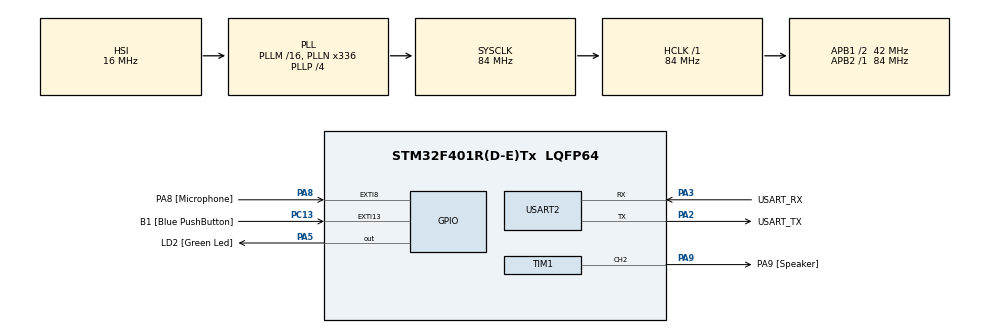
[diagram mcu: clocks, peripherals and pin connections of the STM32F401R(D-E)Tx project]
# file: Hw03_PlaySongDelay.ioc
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Mcu.Family=STM32F4
Mcu.Name=STM32F401R(D-E)Tx
Mcu.Package=LQFP64
NVIC.EXTI9_5_IRQn=true\:1\:0\:true\:false\:true\:true\:true\:true
NVIC.PriorityGroup=NVIC_PRIORITYGROUP_4
PA13.GPIO_Label=TMS
PA13.Mode=Trace_Asynchronous_SW
PA13.Signal=SYS_JTMS-SWDIO
PA14.GPIO_Label=TCK
PA14.Mode=Trace_Asynchronous_SW
PA14.Signal=SYS_JTCK-SWCLK
PA2.GPIO_Label=USART_TX
PA2.GPIO_Mode=GPIO_MODE_AF_PP
PA2.GPIO_PuPd=GPIO_NOPULL
PA2.GPIO_Speed=GPIO_SPEED_FREQ_LOW
PA2.Mode=Asynchronous
PA2.Signal=USART2_TX
PA3.GPIO_Label=USART_RX
PA3.GPIO_Mode=GPIO_MODE_AF_PP
PA3.GPIO_PuPd=GPIO_NOPULL
PA3.GPIO_Speed=GPIO_SPEED_FREQ_LOW
PA3.Mode=Asynchronous
PA3.Signal=USART2_RX
PA5.GPIO_Label=LD2 [Green Led]
PA5.GPIO_Mode=GPIO_MODE_OUTPUT_PP
PA5.GPIO_PuPd=GPIO_NOPULL
PA5.GPIO_Speed=GPIO_SPEED_FREQ_LOW
PA5.Signal=GPIO_Output
PA8.GPIO_Label=PA8 [Microphone]
PA8.Signal=GPXTI8
PA9.GPIO_Label=PA9 [Speaker]
PA9.GPIO_Speed=GPIO_SPEED_FREQ_LOW
PA9.Signal=S_TIM1_CH2
PB3.GPIO_Label=SWO
PB3.Mode=Trace_Asynchronous_SW
PB3.Signal=SYS_JTDO-SWO
PC13-ANTI_TAMP.GPIO_Label=B1 [Blue PushButton]
PC13-ANTI_TAMP.GPIO_ModeDefaultEXTI=GPIO_MODE_IT_FALLING
PC13-ANTI_TAMP.GPIO_PuPd=GPIO_NOPULL
PC13-ANTI_TAMP.Signal=GPXTI13
PC14-OSC32_IN.Mode=LSE-External-Oscillator
PC14-OSC32_IN.Signal=RCC_OSC32_IN
PC15-OSC32_OUT.Mode=LSE-External-Oscillator
PC15-OSC32_OUT.Signal=RCC_OSC32_OUT
PH0\ -\ OSC_IN.Mode=HSE-External-Clock-Source
PH0\ -\ OSC_IN.Signal=RCC_OSC_IN
PH1\ -\ OSC_OUT.Mode=HSE-External-Clock-Source
PH1\ -\ OSC_OUT.Signal=RCC_OSC_OUT
ProjectManager.HeapSize=0x200
ProjectManager.StackSize=0x400
ProjectManager.TargetToolchain=STM32CubeIDE
RCC.48MHZClocksFreq_Value=48000000
RCC.AHBFreq_Value=84000000
RCC.APB1CLKDivider=RCC_HCLK_DIV2
RCC.APB1Freq_Value=42000000
RCC.APB1TimFreq_Value=84000000
RCC.APB2Freq_Value=84000000
RCC.APB2TimFreq_Value=84000000
RCC.CortexFreq_Value=84000000
RCC.HCLKFreq_Value=84000000
RCC.HSE_VALUE=8000000
RCC.HSI_VALUE=16000000
RCC.PLLN=336
RCC.PLLP=RCC_PLLP_DIV4
RCC.PLLQ=7
RCC.SYSCLKFreq_VALUE=84000000
RCC.SYSCLKSource=RCC_SYSCLKSOURCE_PLLCLK
RCC.VCOOutputFreq_Value=336000000
SH.S_TIM1_CH2.0=TIM1_CH2,PWM Generation2 CH2
TIM1.Channel-PWM\ Generation2\ CH2=TIM_CHANNEL_2
TIM1.Prescaler=99
USART2.VirtualMode=VM_ASYNC
VP_TIM1_VS_ClockSourceINT.Mode=Internal
board=NUCLEO-F401RE

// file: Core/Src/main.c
/* USER CODE BEGIN Header */
/**
  ******************************************************************************
  * @file           : main.c
  * @brief          : Main program body
  ******************************************************************************
  * @attention
  *
  * Copyright (c) 2025 STMicroelectronics.
  * All rights reserved.
  *
  * This software is licensed under terms that can be found in the LICENSE file
  * in the root directory of this software component.
  * If no LICENSE file comes with this software, it is provided AS-IS.
  *
  ******************************************************************************
  */
/* USER CODE END Header */
#include "main.h"

/* USER CODE BEGIN PTD */
typedef struct {
	uint32_t tone;
	uint32_t duration;
} Note;
/* USER CODE END PTD */

/* USER CODE BEGIN PD */
#define DO 3205
#define DOD 3031
#define RE 2856
#define RED 2700
#define MI 2544
#define FA 2406
#define FAD 2269
#define SOL 2142
#define SOLD 2023
#define LA 1908
#define LAD 1802
#define SI 1699

#define TEMPO 100

#define DEBOUNCE 200
/* USER CODE END PD */

TIM_HandleTypeDef htim1;

UART_HandleTypeDef huart2;

/* USER CODE BEGIN PV */
const Note song[24] = {
		{SOL, 3}, {LA, 1}, {SOL, 2}, {FA, 2},
		{MI, 2}, {FA, 2}, {SOL, 4},
		{RE, 2}, {MI, 2}, {FA, 4},
		{MI, 2}, {FA, 2}, {SOL, 4},
		{SOL, 3}, {LA, 1}, {SOL, 2}, {FA, 2},
		{MI, 2}, {FA, 2}, {SOL, 4},
		{RE, 4}, {SOL, 4},
		{MI, 2}, {DO, 6},
};

volatile uint8_t isPlaying = 0;

volatile uint32_t last_tick = 0;
/* USER CODE END PV */

void SystemClock_Config(void);
static void MX_GPIO_Init(void);
static void MX_USART2_UART_Init(void);
static void MX_TIM1_Init(void);

/* USER CODE BEGIN 0 */
void playSong() {
	HAL_GPIO_WritePin(GPIOA, GPIO_PIN_5, GPIO_PIN_SET);
	isPlaying = 1;
	int length = sizeof(song)/sizeof(song[0]);
	for (int i = 0; i < length; i++) {
		__HAL_TIM_SET_AUTORELOAD(&htim1, song[i].tone);
		__HAL_TIM_SET_COMPARE(&htim1, TIM_CHANNEL_2, song[i].tone/2);
		__HAL_TIM_SET_COUNTER(&htim1, 0);

		HAL_TIM_PWM_Start(&htim1, TIM_CHANNEL_2);
		HAL_Delay(song[i].duration * TEMPO);
		HAL_TIM_PWM_Stop(&htim1, TIM_CHANNEL_2);
	}
	isPlaying = 0;
	HAL_GPIO_WritePin(GPIOA, GPIO_PIN_5, GPIO_PIN_RESET);
}

void HAL_GPIO_EXTI_Callback(uint16_t GPIO_Pin) {
	if (GPIO_Pin == GPIO_PIN_8) {
		uint32_t tick = HAL_GetTick();
		uint32_t delta = tick - last_tick;
		if (!isPlaying && delta >= DEBOUNCE) {
			playSong();
			last_tick = HAL_GetTick();
		}
	}
}
/* USER CODE END 0 */

int main(void)
{

  /* MCU Configuration--------------------------------------------------------*/

  /* Reset of all peripherals, Initializes the Flash interface and the Systick. */
  HAL_Init();

  /* Configure the system clock */
  SystemClock_Config();

  /* Initialize all configured peripherals */
  MX_GPIO_Init();
  MX_USART2_UART_Init();
  MX_TIM1_Init();

  /* Infinite loop */
  while (1)
  {

  }
}

void SystemClock_Config(void)
{
  RCC_OscInitTypeDef RCC_OscInitStruct = {0};
  RCC_ClkInitTypeDef RCC_ClkInitStruct = {0};

  /** Configure the main internal regulator output voltage
  */
  __HAL_RCC_PWR_CLK_ENABLE();
  __HAL_PWR_VOLTAGESCALING_CONFIG(PWR_REGULATOR_VOLTAGE_SCALE2);

  /** Initializes the RCC Oscillators according to the specified parameters
  * in the RCC_OscInitTypeDef structure.
  */
  RCC_OscInitStruct.OscillatorType = RCC_OSCILLATORTYPE_HSI;
  RCC_OscInitStruct.HSIState = RCC_HSI_ON;
  RCC_OscInitStruct.HSICalibrationValue = RCC_HSICALIBRATION_DEFAULT;
  RCC_OscInitStruct.PLL.PLLState = RCC_PLL_ON;
  RCC_OscInitStruct.PLL.PLLSource = RCC_PLLSOURCE_HSI;
  RCC_OscInitStruct.PLL.PLLM = 16;
  RCC_OscInitStruct.PLL.PLLN = 336;
  RCC_OscInitStruct.PLL.PLLP = RCC_PLLP_DIV4;
  RCC_OscInitStruct.PLL.PLLQ = 7;
  if (HAL_RCC_OscConfig(&RCC_OscInitStruct) != HAL_OK)
  {
    Error_Handler();
  }

  /** Initializes the CPU, AHB and APB buses clocks
  */
  RCC_ClkInitStruct.ClockType = RCC_CLOCKTYPE_HCLK|RCC_CLOCKTYPE_SYSCLK
                              |RCC_CLOCKTYPE_PCLK1|RCC_CLOCKTYPE_PCLK2;
  RCC_ClkInitStruct.SYSCLKSource = RCC_SYSCLKSOURCE_PLLCLK;
  RCC_ClkInitStruct.AHBCLKDivider = RCC_SYSCLK_DIV1;
  RCC_ClkInitStruct.APB1CLKDivider = RCC_HCLK_DIV2;
  RCC_ClkInitStruct.APB2CLKDivider = RCC_HCLK_DIV1;

  if (HAL_RCC_ClockConfig(&RCC_ClkInitStruct, FLASH_LATENCY_2) != HAL_OK)
  {
    Error_Handler();
  }
}

static void MX_TIM1_Init(void)
{

  TIM_ClockConfigTypeDef sClockSourceConfig = {0};
  TIM_MasterConfigTypeDef sMasterConfig = {0};
  TIM_OC_InitTypeDef sConfigOC = {0};
  TIM_BreakDeadTimeConfigTypeDef sBreakDeadTimeConfig = {0};

  htim1.Instance = TIM1;
  htim1.Init.Prescaler = 99;
  htim1.Init.CounterMode = TIM_COUNTERMODE_UP;
  htim1.Init.Period = 65535;
  htim1.Init.ClockDivision = TIM_CLOCKDIVISION_DIV1;
  htim1.Init.RepetitionCounter = 0;
  htim1.Init.AutoReloadPreload = TIM_AUTORELOAD_PRELOAD_DISABLE;
  if (HAL_TIM_Base_Init(&htim1) != HAL_OK)
  {
    Error_Handler();
  }
  sClockSourceConfig.ClockSource = TIM_CLOCKSOURCE_INTERNAL;
  if (HAL_TIM_ConfigClockSource(&htim1, &sClockSourceConfig) != HAL_OK)
  {
    Error_Handler();
  }
  if (HAL_TIM_PWM_Init(&htim1) != HAL_OK)
  {
    Error_Handler();
  }
  sMasterConfig.MasterOutputTrigger = TIM_TRGO_RESET;
  sMasterConfig.MasterSlaveMode = TIM_MASTERSLAVEMODE_DISABLE;
  if (HAL_TIMEx_MasterConfigSynchronization(&htim1, &sMasterConfig) != HAL_OK)
  {
    Error_Handler();
  }
  sConfigOC.OCMode = TIM_OCMODE_PWM1;
  sConfigOC.Pulse = 0;
  sConfigOC.OCPolarity = TIM_OCPOLARITY_HIGH;
  sConfigOC.OCNPolarity = TIM_OCNPOLARITY_HIGH;
  sConfigOC.OCFastMode = TIM_OCFAST_DISABLE;
  sConfigOC.OCIdleState = TIM_OCIDLESTATE_RESET;
  sConfigOC.OCNIdleState = TIM_OCNIDLESTATE_RESET;
  if (HAL_TIM_PWM_ConfigChannel(&htim1, &sConfigOC, TIM_CHANNEL_2) != HAL_OK)
  {
    Error_Handler();
  }
  sBreakDeadTimeConfig.OffStateRunMode = TIM_OSSR_DISABLE;
  sBreakDeadTimeConfig.OffStateIDLEMode = TIM_OSSI_DISABLE;
  sBreakDeadTimeConfig.LockLevel = TIM_LOCKLEVEL_OFF;
  sBreakDeadTimeConfig.DeadTime = 0;
  sBreakDeadTimeConfig.BreakState = TIM_BREAK_DISABLE;
  sBreakDeadTimeConfig.BreakPolarity = TIM_BREAKPOLARITY_HIGH;
  sBreakDeadTimeConfig.AutomaticOutput = TIM_AUTOMATICOUTPUT_DISABLE;
  if (HAL_TIMEx_ConfigBreakDeadTime(&htim1, &sBreakDeadTimeConfig) != HAL_OK)
  {
    Error_Handler();
  }
  HAL_TIM_MspPostInit(&htim1);

}

static void MX_USART2_UART_Init(void)
{

  huart2.Instance = USART2;
  huart2.Init.BaudRate = 115200;
  huart2.Init.WordLength = UART_WORDLENGTH_8B;
  huart2.Init.StopBits = UART_STOPBITS_1;
  huart2.Init.Parity = UART_PARITY_NONE;
  huart2.Init.Mode = UART_MODE_TX_RX;
  huart2.Init.HwFlowCtl = UART_HWCONTROL_NONE;
  huart2.Init.OverSampling = UART_OVERSAMPLING_16;
  if (HAL_UART_Init(&huart2) != HAL_OK)
  {
    Error_Handler();
  }

}

static void MX_GPIO_Init(void)
{
  GPIO_InitTypeDef GPIO_InitStruct = {0};

  /* GPIO Ports Clock Enable */
  __HAL_RCC_GPIOC_CLK_ENABLE();
  __HAL_RCC_GPIOH_CLK_ENABLE();
  __HAL_RCC_GPIOA_CLK_ENABLE();
  __HAL_RCC_GPIOB_CLK_ENABLE();

  /*Configure GPIO pin Output Level */
  HAL_GPIO_WritePin(LD2_GPIO_Port, LD2_Pin, GPIO_PIN_RESET);

  /*Configure GPIO pin : B1_Pin */
  GPIO_InitStruct.Pin = B1_Pin;
  GPIO_InitStruct.Mode = GPIO_MODE_IT_FALLING;
  GPIO_InitStruct.Pull = GPIO_NOPULL;
  HAL_GPIO_Init(B1_GPIO_Port, &GPIO_InitStruct);

  /*Configure GPIO pin : LD2_Pin */
  GPIO_InitStruct.Pin = LD2_Pin;
  GPIO_InitStruct.Mode = GPIO_MODE_OUTPUT_PP;
  GPIO_InitStruct.Pull = GPIO_NOPULL;
  GPIO_InitStruct.Speed = GPIO_SPEED_FREQ_LOW;
  HAL_GPIO_Init(LD2_GPIO_Port, &GPIO_InitStruct);

  /*Configure GPIO pin : PA8_Pin */
  GPIO_InitStruct.Pin = PA8_Pin;
  GPIO_InitStruct.Mode = GPIO_MODE_IT_RISING;
  GPIO_InitStruct.Pull = GPIO_NOPULL;
  HAL_GPIO_Init(PA8_GPIO_Port, &GPIO_InitStruct);

  /* EXTI interrupt init*/
  HAL_NVIC_SetPriority(EXTI9_5_IRQn, 1, 0);
  HAL_NVIC_EnableIRQ(EXTI9_5_IRQn);

}

void Error_Handler(void)
{
  __disable_irq();
  while (1)
  {
  }
}
